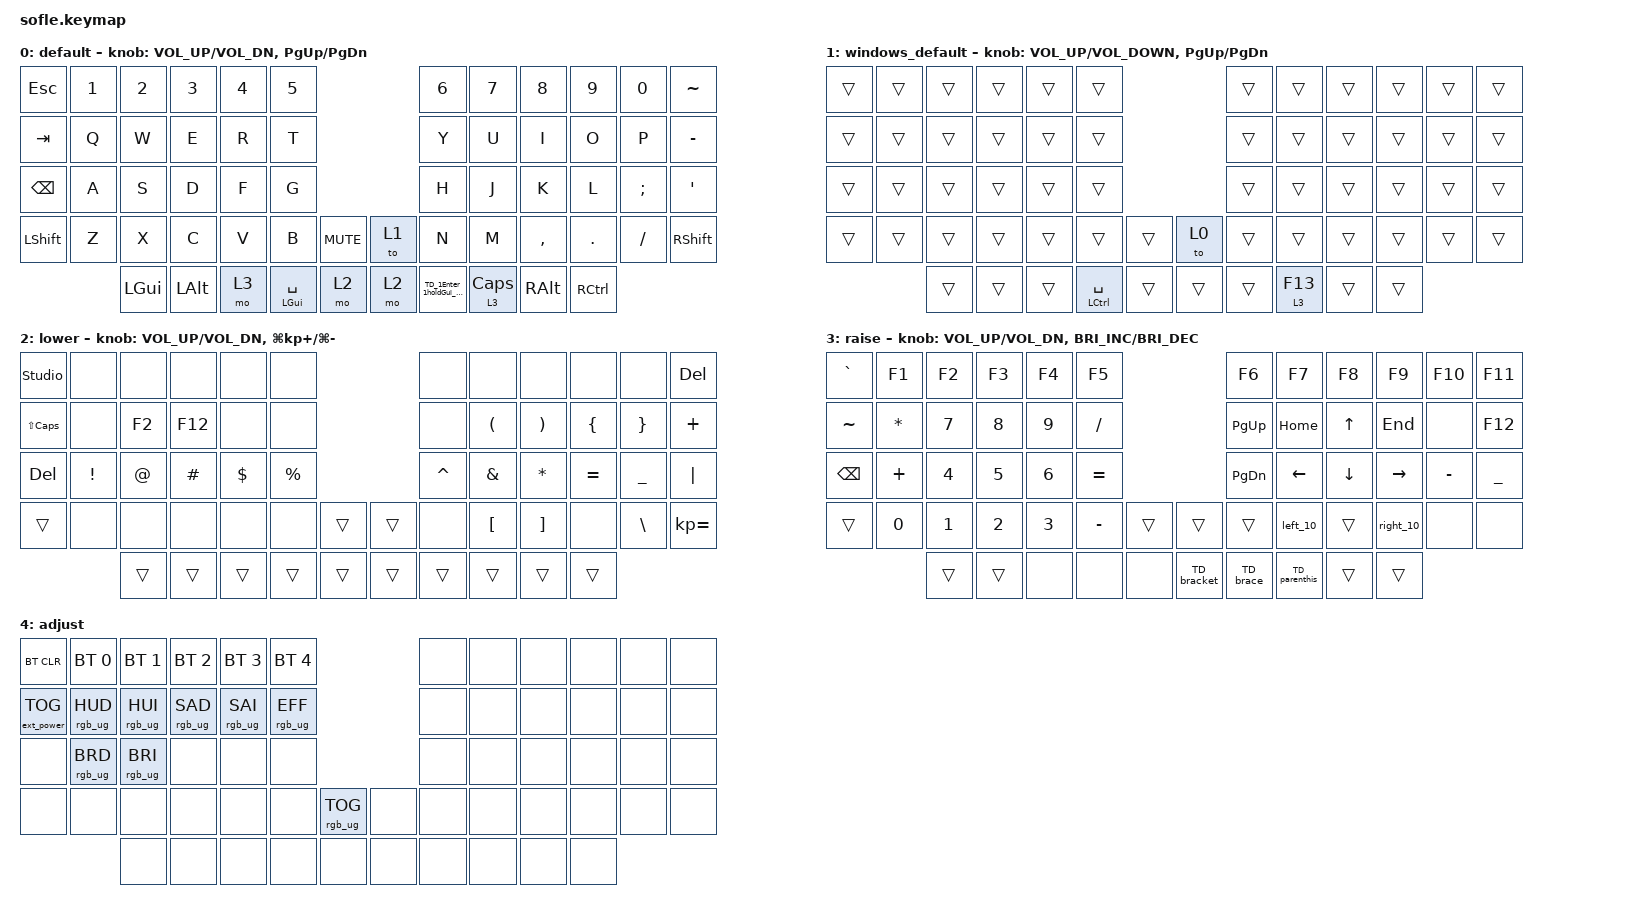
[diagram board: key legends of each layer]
/*
 * Copyright (c) 2020 The ZMK Contributors
 *
 * SPDX-License-Identifier: MIT
 */

#include <behaviors.dtsi>
#include <dt-bindings/zmk/bt.h>
#include <dt-bindings/zmk/ext_power.h>
#include <dt-bindings/zmk/keys.h>
#include <dt-bindings/zmk/rgb.h>

#define BASE 0
#define LOWER 1
#define RAISE 2
#define ADJUST 3

&mt { tapping-term-ms = <150>; };

/ {
    // Activate ADJUST layer by pressing raise and lower

    conditional_layers {
        compatible = "zmk,conditional-layers";

        adjust_layer {
            if-layers = <2 3>;
            then-layer = <4>;
        };
    };

    macros {
        left_10: left_10 {
            compatible = "zmk,behavior-macro";
            #binding-cells = <0>;
            bindings = <&kp LEFT_ARROW &key_repeat &key_repeat &key_repeat &key_repeat>;
            label = "LEFT_10";
        };

        right_10: right_10 {
            compatible = "zmk,behavior-macro";
            #binding-cells = <0>;
            bindings = <&kp RIGHT_ARROW &kp RIGHT_ARROW &kp RIGHT_ARROW &kp RIGHT_ARROW &kp RIGHT_ARROW>;
            label = "RIGHT_10";
        };
    };

    behaviors {
        TD_1Space_1holdShift_2Gui: TD_1Space_1holdShift_2Gui {
            compatible = "zmk,behavior-tap-dance";
            label = "TD_1SPACE_1HOLDSHIFT_2GUI";
            #binding-cells = <0>;
            bindings = <&mt LEFT_SHIFT SPACE>, <&kp LEFT_GUI>;

            tapping-term-ms = <170>;
        };

        TD_1Enter_1holdGui_2Alt: TD_1Enter_1holdGui_2Alt {
            compatible = "zmk,behavior-tap-dance";
            label = "TD_1ENTER_1HOLDGUI_2ALT";
            #binding-cells = <0>;
            bindings = <&mt LEFT_GUI ENTER>, <&kp RIGHT_ALT>;

            tapping-term-ms = <170>;
        };

        TD_1Space_1holdShift_2Ctrl: TD_1Space_1holdShift_2Ctrl {
            compatible = "zmk,behavior-tap-dance";
            label = "TD_1SPACE_1HOLDSHIFT_2CTRL";
            #binding-cells = <0>;
            bindings = <&mt LEFT_SHIFT SPACE>, <&kp LCTRL>;

            tapping-term-ms = <170>;
        };

        TD_parenthis: TD_parenthis {
            compatible = "zmk,behavior-tap-dance";
            label = "TD_PARENTHIS";
            #binding-cells = <0>;
            bindings = <&kp LEFT_PARENTHESIS>, <&kp RIGHT_PARENTHESIS>;

            tapping-term-ms = <170>;
        };

        TD_brace: TD_brace {
            compatible = "zmk,behavior-tap-dance";
            label = "TD_BRACE";
            #binding-cells = <0>;
            bindings = <&kp LEFT_BRACE>, <&kp RIGHT_BRACE>;

            tapping-term-ms = <170>;
        };

        TD_bracket: TD_bracket {
            compatible = "zmk,behavior-tap-dance";
            label = "TD_BRACKET";
            #binding-cells = <0>;
            bindings = <&kp LEFT_BRACKET>, <&kp RIGHT_BRACKET>;

            tapping-term-ms = <170>;
        };

        mt_hold_require_prior_idle: mt_hold_require_prior_idle {
            compatible = "zmk,behavior-hold-tap";
            label = "MT_HOLD_REQUIRE_PRIOR_IDLE";
            bindings = <&kp>, <&kp>;

            #binding-cells = <2>;
            tapping-term-ms = <190>;
            require-prior-idle-ms = <125>;
        };
    };

    keymap {
        compatible = "zmk,keymap";

        macos_default {
            label = "default";

            // ------------------------------------------------------------------------------------------------------------
            // |   `   |  1  |  2  |  3   |  4   |  5   |                   |  6   |  7    |  8    |  9   |   0   |       |
            // |  ESC  |  Q  |  W  |  E   |  R   |  T   |                   |  Y   |  U    |  I    |  O   |   P   | BKSPC |
            // |  TAB  |  A  |  S  |  D   |  F   |  G   |                   |  H   |  J    |  K    |  L   |   ;   |   '   |
            // | SHIFT |  Z  |  X  |  C   |  V   |  B   |  MUTE  |  |       |  N   |  M    |  ,    |  .   |   /   | SHIFT |
            //               | GUI | ALT  | CTRL | LOWER|  ENTER |  | SPACE | RAISE| CTRL  | ALT   | GUI  |

            bindings = <
&kp ESC        &kp N1  &kp N2        &kp N3    &kp N4  &kp N5                                                           &kp N6                    &kp N7          &kp N8         &kp N9     &kp N0    &kp TILDE
&kp TAB        &kp Q   &kp W         &kp E     &kp R   &kp T                                                            &kp Y                     &kp U           &kp I          &kp O      &kp P     &kp MINUS
&kp BACKSPACE  &kp A   &kp S         &kp D     &kp F   &kp G                                                            &kp H                     &kp J           &kp K          &kp L      &kp SEMI  &kp SQT
&kp LSHFT      &kp Z   &kp X         &kp C     &kp V   &kp B                                       &kp C_MUTE    &to 1  &kp N                     &kp M           &kp COMMA      &kp DOT    &kp FSLH  &kp RSHFT
                       &kp LEFT_GUI  &kp LALT  &mo 3   &mt_hold_require_prior_idle LEFT_GUI SPACE  &mo 2         &mo 2  &TD_1Enter_1holdGui_2Alt  &lt 3 CAPSLOCK  &kp RIGHT_ALT  &kp RCTRL
            >;

            sensor-bindings = <&inc_dec_kp C_VOL_UP C_VOL_DN &inc_dec_kp PG_UP PG_DN>;
        };

        windows_default {
            bindings = <
&trans  &trans  &trans  &trans  &trans  &trans                                                     &trans  &trans     &trans  &trans  &trans  &trans
&trans  &trans  &trans  &trans  &trans  &trans                                                     &trans  &trans     &trans  &trans  &trans  &trans
&trans  &trans  &trans  &trans  &trans  &trans                                                     &trans  &trans     &trans  &trans  &trans  &trans
&trans  &trans  &trans  &trans  &trans  &trans                                   &trans    &to 0   &trans  &trans     &trans  &trans  &trans  &trans
                &trans  &trans  &trans  &mt_hold_require_prior_idle LCTRL SPACE  &trans    &trans  &trans  &lt 3 F13  &trans  &trans
            >;

            sensor-bindings =
                <&inc_dec_kp C_VOL_UP C_VOLUME_DOWN>,
                <&inc_dec_kp PAGE_UP PAGE_DOWN>;
        };

        lower_layer {
            label = "lower";

            // TODO: Some binds are waiting for shifted keycode support.
            // ------------------------------------------------------------------------------------------------------------
            // |       |  F1 |  F2 |  F3  |  F4  |  F5  |                   |  F6  |  F7   |  F8   |  F9  |  F10  |  F11  |
            // |   `   |  1  |  2  |  3   |  4   |  5   |                   |  6   |  7    |  8    |  9   |   0   |  F12  |
            // |       |  !  |  @  |  #   |  $   |  %   |                   |  ^   |  &    |  *    |  (   |   )   |   |   |
            // |       |  =  |  -  |  +   |  {   |  }   |        |  |       |  [   |  ]    |  ;    |  :   |   \   |       |
            //               |     |      |      |      |        |  |       |      |       |       |      |

            bindings = <
&studio_unlock    &none     &none   &none     &none     &none                        &none      &none                 &none                  &none           &none            &kp DELETE
&kp LS(CAPSLOCK)  &none     &kp F2  &kp F12   &none     &none                        &none      &kp LEFT_PARENTHESIS  &kp RIGHT_PARENTHESIS  &kp LEFT_BRACE  &kp RIGHT_BRACE  &kp PLUS
&kp DELETE        &kp EXCL  &kp AT  &kp HASH  &kp DLLR  &kp PRCNT                    &kp CARET  &kp AMPS              &kp ASTERISK           &kp EQUAL       &kp UNDERSCORE   &kp PIPE
&trans            &none     &none   &none     &none     &none      &trans    &trans  &none      &kp LEFT_BRACKET      &kp RIGHT_BRACKET      &none           &kp BSLH         &kp KP_EQUAL
                            &trans  &trans    &trans    &trans     &trans    &trans  &trans     &trans                &trans                 &trans
            >;

            sensor-bindings =
                <&inc_dec_kp C_VOL_UP C_VOL_DN>,
                <&inc_dec_kp LG(KP_PLUS) LG(MINUS)>;
        };

        raise_layer {
            label = "raise";

            // ------------------------------------------------------------------------------------------------------------
            // | BTCLR | BT1  | BT2  |  BT3  |  BT4  |  BT5 |                |      |      |       |      |       |       |
            // |       | INS  | PSCR | GUI   |       |      |                | PGUP |      |   ^   |      |       |       |
            // |       | ALT  | CTRL | SHIFT |       | CAPS |                | PGDN |   <- |   v   |  ->  |  DEL  | BKSPC |
            // |       | UNDO | CUT  | COPY  | PASTE |      |      |  |      |      |      |       |      |       |       |
            //                |      |       |       |      |      |  |      |      |      |       |      |

            bindings = <
&kp GRAVE      &kp F1        &kp F2        &kp F3        &kp F4        &kp F5                            &kp F6     &kp F7         &kp F8    &kp F9     &kp F10    &kp F11
&kp TILDE      &kp ASTERISK  &kp NUMBER_7  &kp NUMBER_8  &kp NUMBER_9  &kp SLASH                         &kp PG_UP  &kp HOME       &kp UP    &kp END    &none      &kp F12
&kp BACKSPACE  &kp PLUS      &kp NUMBER_4  &kp NUMBER_5  &kp NUMBER_6  &kp EQUAL                         &kp PG_DN  &kp LEFT       &kp DOWN  &kp RIGHT  &kp MINUS  &kp UNDER
&trans         &kp NUMBER_0  &kp NUMBER_1  &kp NUMBER_2  &kp NUMBER_3  &kp MINUS  &trans    &trans       &trans     &left_10       &trans    &right_10  &none      &none
                             &trans        &trans        &none         &none      &none     &TD_bracket  &TD_brace  &TD_parenthis  &trans    &trans
            >;

            sensor-bindings =
                <&inc_dec_kp C_VOL_UP C_VOL_DN>,
                <&inc_dec_kp C_BRIGHTNESS_INC C_BRIGHTNESS_DEC>;
        };

        adjust_layer {
            // ----------------------------------------------------------------------------------------------------------------------------
            // | BTCLR  |  BT1    |  BT2    |   BT3   |   BT4   |   BT5   |                  |      |      |       |      |       |       |
            // | EXTPWR | RGB_HUD | RGB_HUI | RGB_SAD | RGB_SAI | RGB_EFF |                  |      |      |       |      |       |       |
            // |        | RGB_BRD | RGB_BRI |         |         |         |                  |      |      |       |      |       |       |
            // |        |         |         |         |         |         | RGB_TOG | |      |      |      |       |      |       |       |
            //                    |         |         |         |         |         | |      |      |      |       |      |

            label = "adjust";
            bindings = <
&bt BT_CLR         &bt BT_SEL 0     &bt BT_SEL 1     &bt BT_SEL 2     &bt BT_SEL 3     &bt BT_SEL 4                               &none  &none  &none  &none  &none  &none
&ext_power EP_TOG  &rgb_ug RGB_HUD  &rgb_ug RGB_HUI  &rgb_ug RGB_SAD  &rgb_ug RGB_SAI  &rgb_ug RGB_EFF                            &none  &none  &none  &none  &none  &none
&none              &rgb_ug RGB_BRD  &rgb_ug RGB_BRI  &none            &none            &none                                      &none  &none  &none  &none  &none  &none
&none              &none            &none            &none            &none            &none            &rgb_ug RGB_TOG    &none  &none  &none  &none  &none  &none  &none
                                    &none            &none            &none            &none            &none              &none  &none  &none  &none  &none
            >;
        };
    };
};
